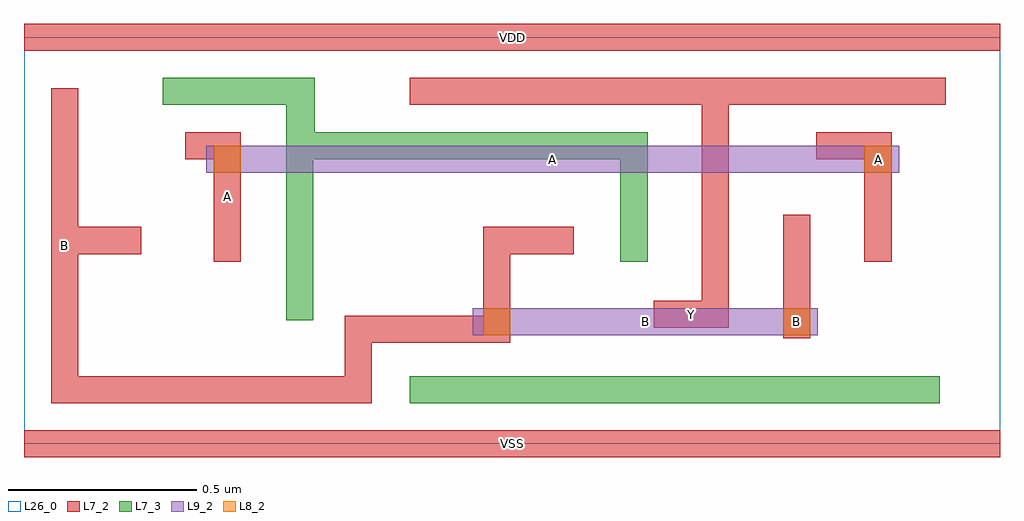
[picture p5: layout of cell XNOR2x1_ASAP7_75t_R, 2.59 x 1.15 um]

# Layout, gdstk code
import gdstk
lib = gdstk.Library(unit=1e-6, precision=1e-09)
def R(c, l, rs):  # rectangles x0, y0, x1, y1
    for r in rs: c.add(gdstk.rectangle(r[:2], r[2:], *l))
L7_2 = (7, 2)
L7_3 = (7, 3)
L8_2 = (8, 2)
L9_2 = (9, 2)
L26_0 = (26, 0)

xnor2x1_asap7_75t_r = lib.new_cell('XNOR2x1_ASAP7_75t_R')
R(xnor2x1_asap7_75t_r, L7_2, [(0,-0.036,2.592,0.036), (0.072,0.108,0.924,0.18), (0.072,0.108,0.144,0.944), (0.852,0.108,0.924,0.34), (0.852,0.268,1.292,0.34), (1.22,0.268,1.292,0.576), (2.016,0.28,2.088,0.608), (1.672,0.308,1.872,0.38), (1.8,0.308,1.872,0.972), (0.504,0.484,0.576,0.828), (2.232,0.484,2.304,0.828), (0.072,0.504,0.312,0.576), (1.22,0.504,1.46,0.576), (0.428,0.756,0.576,0.828), (2.104,0.756,2.304,0.828), (1.024,0.9,2.448,0.972), (0,1.044,2.592,1.116)])
R(xnor2x1_asap7_75t_r, L7_3, [(1.024,0.108,2.432,0.18), (0.696,0.328,0.768,0.972), (1.584,0.484,1.656,0.828), (0.696,0.756,0.772,0.972), (0.696,0.756,1.656,0.828), (0.368,0.9,0.772,0.972)])
R(xnor2x1_asap7_75t_r, L8_2, [(1.22,0.288,1.292,0.36), (2.016,0.288,2.088,0.36), (0.504,0.72,0.576,0.792), (2.232,0.72,2.304,0.792)])
R(xnor2x1_asap7_75t_r, L9_2, [(1.192,0.288,2.108,0.36), (0.484,0.72,2.324,0.792)])
R(xnor2x1_asap7_75t_r, L26_0, [(0,0,2.592,1.08)])
xnor2x1_asap7_75t_r.add(gdstk.Label('B', (0.108,0.526), layer=7, texttype=1))
xnor2x1_asap7_75t_r.add(gdstk.Label('VDD', (1.296,1.08), layer=7, texttype=1))
xnor2x1_asap7_75t_r.add(gdstk.Label('VSS', (1.296,0), layer=7, texttype=1))
xnor2x1_asap7_75t_r.add(gdstk.Label('Y', (1.772,0.344), layer=7, texttype=1))
xnor2x1_asap7_75t_r.add(gdstk.Label('A', (0.54,0.656), layer=7, texttype=1))
xnor2x1_asap7_75t_r.add(gdstk.Label('B', (1.65,0.324), layer=9, texttype=1))
xnor2x1_asap7_75t_r.add(gdstk.Label('A', (1.404,0.756), layer=9, texttype=1))
xnor2x1_asap7_75t_r.add(gdstk.Label('B', (2.052,0.324), layer=8, texttype=1))
xnor2x1_asap7_75t_r.add(gdstk.Label('A', (2.268,0.756), layer=8, texttype=1))

lib.write_gds('XNOR2x1_ASAP7_75t_R.gds')
